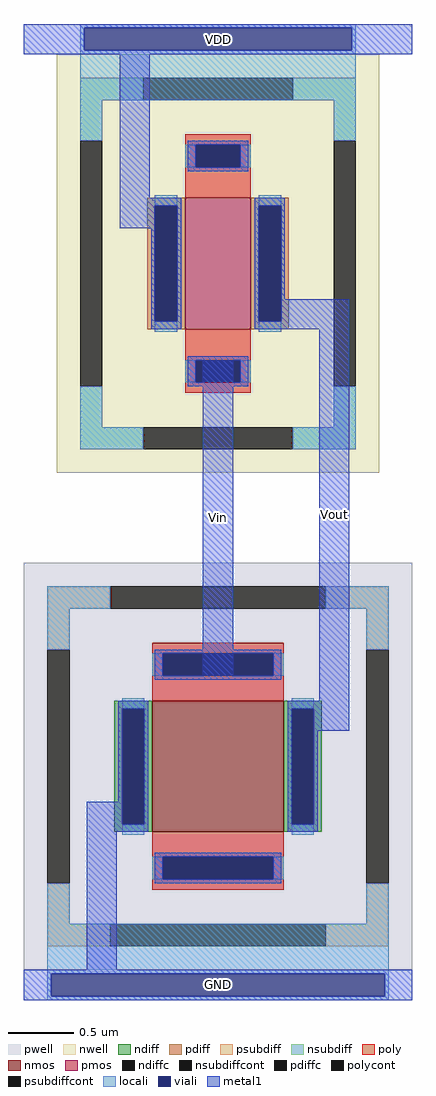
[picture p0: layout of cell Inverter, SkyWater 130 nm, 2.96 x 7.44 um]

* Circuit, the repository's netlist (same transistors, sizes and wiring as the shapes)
* NGSPICE file created from Inverter.ext - technology: sky130A

.subckt sky130_fd_pr__nfet_01v8_JZTGL9 a_n260_n274# a_100_n100# a_n158_n100# a_n100_n188#
X0 a_100_n100# a_n100_n188# a_n158_n100# a_n260_n274# sky130_fd_pr__nfet_01v8 ad=0.29 pd=2.58 as=0.29 ps=2.58 w=1 l=1
.ends

.subckt sky130_fd_pr__pfet_01v8_U6BDKB w_n246_n319# a_n50_n197# a_50_n100# a_n108_n100#
X0 a_50_n100# a_n50_n197# a_n108_n100# w_n246_n319# sky130_fd_pr__pfet_01v8 ad=0.29 pd=2.58 as=0.29 ps=2.58 w=1 l=0.5
.ends

.subckt Inverter Vin Vout GND VDD
Xsky130_fd_pr__nfet_01v8_JZTGL9_0 GND Vout GND Vin sky130_fd_pr__nfet_01v8_JZTGL9
Xsky130_fd_pr__pfet_01v8_U6BDKB_0 VDD Vin Vout VDD sky130_fd_pr__pfet_01v8_U6BDKB
.ends

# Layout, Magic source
magic
tech sky130A
magscale 1 2
<< locali >>
rect 1381 462 1801 468
rect 1381 428 1387 462
rect 1795 428 1801 462
rect 1381 352 1801 428
rect 1331 -979 1851 -903
rect 1331 -1013 1337 -979
rect 1845 -1013 1851 -979
rect 1331 -1019 1851 -1013
<< viali >>
rect 1387 428 1795 462
rect 1337 -1013 1845 -979
<< metal1 >>
rect 1295 462 1887 468
rect 1295 428 1387 462
rect 1795 428 1887 462
rect 1295 422 1887 428
rect 1441 203 1487 422
rect 1441 157 1489 203
rect 1693 3 1791 49
rect 1568 -531 1614 -38
rect 1745 -563 1791 3
rect 1743 -609 1791 -563
rect 1391 -763 1439 -717
rect 1391 -973 1437 -763
rect 1295 -979 1887 -973
rect 1295 -1013 1337 -979
rect 1845 -1013 1887 -979
rect 1295 -1019 1887 -1013
use sky130_fd_pr__nfet_01v8_JZTGL9  sky130_fd_pr__nfet_01v8_JZTGL9_0
transform 1 0 1591 0 1 -663
box -296 -310 296 310
use sky130_fd_pr__pfet_01v8_U6BDKB  sky130_fd_pr__pfet_01v8_U6BDKB_0
transform 1 0 1591 0 1 103
box -246 -319 246 319
<< labels >>
flabel metal1 1568 -531 1614 -38 0 FreeSans 160 0 0 0 Vin
port 2 nsew
flabel metal1 1295 -1019 1887 -973 0 FreeSans 160 0 0 0 GND
port 4 nsew
flabel metal1 1745 -609 1791 49 0 FreeSans 160 0 0 0 Vout
port 3 nsew
flabel metal1 1295 422 1887 468 0 FreeSans 160 0 0 0 VDD
port 5 nsew
<< end >>

# cell sky130_fd_pr__nfet_01v8_JZTGL9: kit device sky130_fd_pr__nfet_01v8, w 1 l 1 m 1 nf 1 diffcov 100 polycov 100 guard 1 glc 1 grc 1 gtc 1 gbc 1 tbcov 100 rlcov 100 topc 1 botc 1 poverlap 0 doverlap 1 lmin 0.15 wmin 0.42 class mosfet compatible {sky130_fd_pr__nfet_01v8 sky130_fd_pr__nfet_01v8_lvt sky130_fd_bs_flash__special_sonosfet_star sky130_fd_pr__nfet_g5v0d10v5 sky130_fd_pr__nfet_05v0_nvt sky130_fd_pr__nfet_03v3_nvt} full_metal 1 viasrc 100 viadrn 100 viagate 100 viagb 0 viagr 0 viagl 0 viagt 0

# cell sky130_fd_pr__pfet_01v8_U6BDKB: kit device sky130_fd_pr__pfet_01v8, w 1 l 0.5 m 1 nf 1 diffcov 100 polycov 100 guard 1 glc 1 grc 1 gtc 1 gbc 1 tbcov 100 rlcov 100 topc 1 botc 1 poverlap 0 doverlap 1 lmin 0.15 wmin 0.42 class mosfet compatible {sky130_fd_pr__pfet_01v8 sky130_fd_pr__pfet_01v8_lvt sky130_fd_pr__pfet_01v8_hvt sky130_fd_pr__pfet_g5v0d10v5} full_metal 1 viasrc 100 viadrn 100 viagate 100 viagb 0 viagr 0 viagl 0 viagt 0
